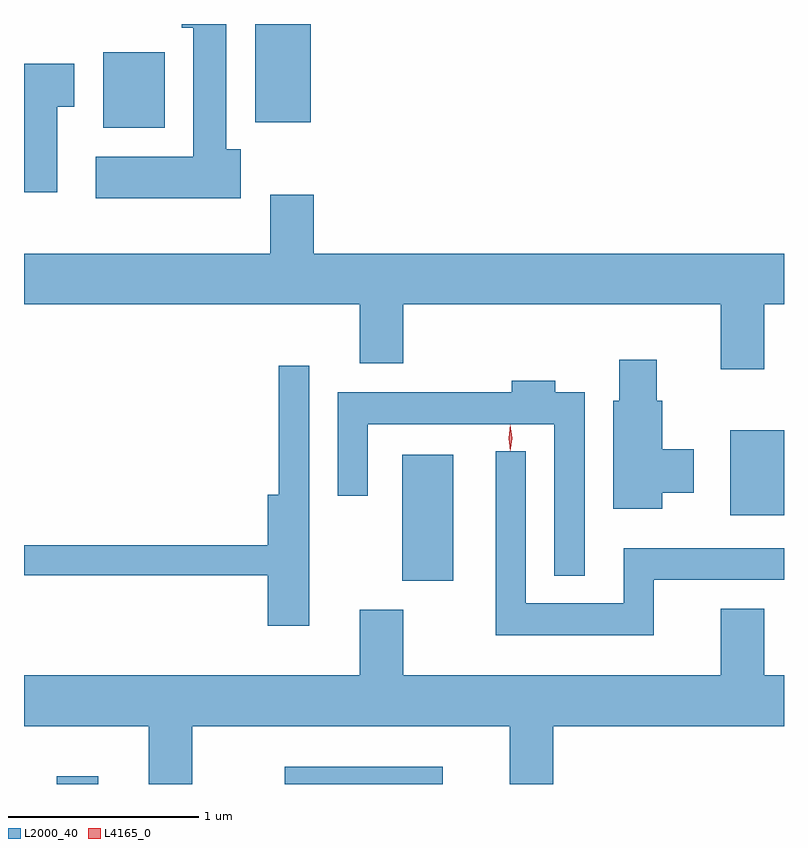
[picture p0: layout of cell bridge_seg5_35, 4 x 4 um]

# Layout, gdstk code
import gdstk
lib = gdstk.Library(unit=1e-6, precision=1e-09)
def R(c, l, rs):  # rectangles x0, y0, x1, y1
    for r in rs: c.add(gdstk.rectangle(r[:2], r[2:], *l))
def P(c, l, *ps):  # polygons
    for p in ps: c.add(gdstk.Polygon(p, *l))
L2000_40 = (2000, 40)
L4165_0 = (4165, 0)

bridge_seg5_35 = lib.new_cell('bridge_seg5_35')
R(bridge_seg5_35, L2000_40, [(1343.056,1474.252,1343.274,1474.294), (1344.256,1474.252,1345.089,1474.344), (1344.876,1475.321,1345.144,1475.984), (1346.601,1475.666,1346.884,1476.114), (1343.301,1477.706,1343.624,1478.104), (1344.101,1477.736,1344.394,1478.252)])
P(bridge_seg5_35, L2000_40, [(1344.024,1477.594),(1343.949,1477.594),(1343.949,1478.252),(1343.713,1478.252),(1343.713,1478.231),(1343.776,1478.231),(1343.776,1477.554),(1343.261,1477.554),(1343.261,1477.336),(1344.024,1477.336)],
  [(1343.059,1477.816),(1343.149,1477.816),(1343.149,1478.044),(1342.884,1478.044),(1342.884,1477.366),(1343.059,1477.366)],
  [(1346.779,1476.776),(1346.884,1476.776),(1346.884,1477.044),(1344.409,1477.044),(1344.409,1477.354),(1344.181,1477.354),(1344.181,1477.044),(1342.884,1477.044),(1342.884,1476.776),(1344.651,1476.776),(1344.651,1476.466),(1344.879,1476.466),(1344.879,1476.776),(1346.551,1476.776),(1346.551,1476.436),(1346.779,1476.436)],
  [(1346.244,1475.786),(1346.409,1475.786),(1346.409,1476.014),(1346.244,1476.014),(1346.244,1476.269),(1346.214,1476.269),(1346.214,1476.484),(1346.016,1476.484),(1346.016,1476.269),(1345.986,1476.269),(1345.986,1475.701),(1346.244,1475.701)],
  [(1344.384,1476.453),(1344.226,1476.453),(1344.226,1475.774),(1344.166,1475.774),(1344.166,1475.509),(1342.884,1475.509),(1342.884,1475.351),(1344.166,1475.351),(1344.166,1475.086),(1344.384,1475.086)],
  [(1345.834,1476.314),(1345.679,1476.314),(1345.679,1476.374),(1345.451,1476.374),(1345.451,1476.314),(1344.536,1476.314),(1344.536,1475.768),(1344.694,1475.768),(1344.694,1476.146),(1345.676,1476.146),(1345.676,1475.348),(1345.834,1475.348)],
  [(1346.199,1475.326),(1346.884,1475.326),(1346.884,1475.494),(1346.041,1475.494),(1346.041,1475.204),(1345.524,1475.204),(1345.524,1476.003),(1345.366,1476.003),(1345.366,1475.036),(1346.199,1475.036)],
  [(1343.769,1474.556),(1345.441,1474.556),(1345.441,1474.252),(1345.669,1474.252),(1345.669,1474.556),(1346.884,1474.556),(1346.884,1474.824),(1346.779,1474.824),(1346.779,1475.174),(1346.551,1475.174),(1346.551,1474.824),(1344.879,1474.824),(1344.879,1475.169),(1344.651,1475.169),(1344.651,1474.824),(1342.884,1474.824),(1342.884,1474.556),(1343.541,1474.556),(1343.541,1474.252),(1343.769,1474.252)])
P(bridge_seg5_35, L4165_0, [(1345.444,1476.003),(1345.443,1476.004),(1345.434,1476.073),(1345.443,1476.142),(1345.444,1476.143),(1345.444,1476.142),(1345.454,1476.073),(1345.444,1476.004)])

lib.write_gds('bridge_seg5_35.gds')
